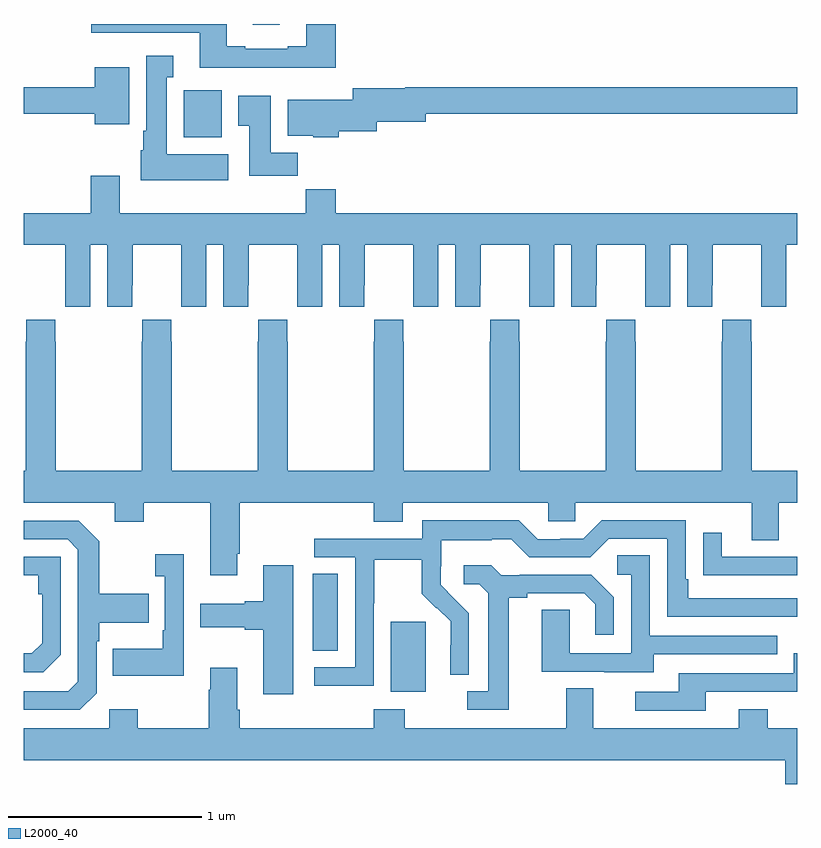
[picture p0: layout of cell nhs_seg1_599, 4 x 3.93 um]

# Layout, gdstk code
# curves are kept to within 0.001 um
import gdstk
lib = gdstk.Library(unit=1e-6, precision=1e-09)
def R(c, l, rs):  # rectangles x0, y0, x1, y1
    for r in rs: c.add(gdstk.rectangle(r[:2], r[2:], *l))
def P(c, l, *ps):  # polygons
    for p in ps: c.add(gdstk.Polygon(p, *l))
L2000_40 = (2000, 40)

nhs_seg1_599 = lib.new_cell('nhs_seg1_599')
R(nhs_seg1_599, L2000_40, [(144.899,558.746,145.078,559.107), (144.494,558.958,144.625,559.355), (143.828,561.614,144.025,561.856), (144.185,562.194,144.325,562.199)])
P(nhs_seg1_599, L2000_40, [(144.614,562.199),(144.461,562.199),(144.461,562.084),(144.365,562.084),(144.365,562.071),(144.145,562.071),(144.145,562.084),(144.049,562.084),(144.049,562.199),(143.349,562.199),(143.349,562.155),(143.909,562.155),(143.909,561.974),(144.614,561.974)],
  [(144.058,561.526),(143.74,561.526),(143.74,561.923),(143.773,561.923),(143.773,562.036),(143.633,562.036),(143.633,561.646),(143.618,561.646),(143.618,561.546),(143.606,561.546),(143.606,561.392),(144.058,561.392)],
  [(143.545,561.976),(143.366,561.976),(143.366,561.872),(143,561.872),(143,561.736),(143.366,561.736),(143.366,561.68),(143.545,561.68)],
  [(144.629,561.644),(144.826,561.644),(144.826,561.694),(145.078,561.694),(145.078,561.736),(147,561.736),(147,561.872),(144.974,561.872),(144.974,561.866),(144.702,561.866),(144.702,561.808),(144.365,561.808),(144.365,561.62),(144.498,561.62),(144.498,561.614),(144.629,561.614)],
  [(144.416,561.532),(144.277,561.532),(144.277,561.829),(144.11,561.829),(144.11,561.673),(144.167,561.673),(144.167,561.414),(144.416,561.414)],
  [(143.344,561.056),(143.432,561.056),(143.432,560.736),(143.562,560.736),(143.562,560.848),(143.563,560.848),(143.563,561.056),(143.813,561.056),(143.813,560.848),(143.814,560.848),(143.814,560.736),(143.944,560.736),(143.944,561.056),(144.032,561.056),(144.032,560.736),(144.162,560.736),(144.162,560.848),(144.163,560.848),(144.163,561.056),(144.413,561.056),(144.413,560.848),(144.414,560.848),(144.414,560.736),(144.544,560.736),(144.544,561.056),(144.632,561.056),(144.632,560.736),(144.762,560.736),(144.762,560.848),(144.763,560.848),(144.763,561.056),(145.013,561.056),(145.013,560.848),(145.014,560.848),(145.014,560.736),(145.144,560.736),(145.144,561.056),(145.232,561.056),(145.232,560.736),(145.362,560.736),(145.362,560.848),(145.363,560.848),(145.363,561.056),(145.613,561.056),(145.613,560.848),(145.614,560.848),(145.614,560.736),(145.744,560.736),(145.744,561.056),(145.832,561.056),(145.832,560.736),(145.962,560.736),(145.962,560.848),(145.963,560.848),(145.963,561.056),(146.213,561.056),(146.213,560.848),(146.214,560.848),(146.214,560.736),(146.344,560.736),(146.344,561.056),(146.432,561.056),(146.432,560.736),(146.562,560.736),(146.562,560.848),(146.563,560.848),(146.563,561.056),(146.813,561.056),(146.813,560.848),(146.814,560.848),(146.814,560.736),(146.944,560.736),(146.944,561.056),(147,561.056),(147,561.22),(144.614,561.22),(144.614,561.344),(144.457,561.344),(144.457,561.22),(143.497,561.22),(143.497,561.415),(143.345,561.415),(143.345,561.22),(143,561.22),(143,561.056),(143.213,561.056),(143.213,560.848),(143.214,560.848),(143.214,560.736),(143.344,560.736)],
  [(144.103,559.459),(144.116,559.459),(144.116,559.724),(144.809,559.724),(144.809,559.625),(144.961,559.625),(144.961,559.724),(145.713,559.724),(145.713,559.626),(145.851,559.626),(145.851,559.724),(146.765,559.724),(146.765,559.53),(146.905,559.53),(146.905,559.724),(147,559.724),(147,559.888),(146.766,559.888),(146.766,560.555),(146.763,560.555),(146.763,560.668),(146.613,560.668),(146.613,560.555),(146.611,560.555),(146.611,559.888),(146.166,559.888),(146.166,560.555),(146.163,560.555),(146.163,560.668),(146.013,560.668),(146.013,560.555),(146.011,560.555),(146.011,559.888),(145.566,559.888),(145.566,560.555),(145.563,560.555),(145.563,560.668),(145.413,560.668),(145.413,560.555),(145.411,560.555),(145.411,559.888),(144.966,559.888),(144.966,560.555),(144.963,560.555),(144.963,560.668),(144.813,560.668),(144.813,560.555),(144.811,560.555),(144.811,559.888),(144.366,559.888),(144.366,560.555),(144.363,560.555),(144.363,560.668),(144.213,560.668),(144.213,560.555),(144.211,560.555),(144.211,559.888),(143.766,559.888),(143.766,560.555),(143.763,560.555),(143.763,560.668),(143.613,560.668),(143.613,560.555),(143.611,560.555),(143.611,559.888),(143.166,559.888),(143.166,560.555),(143.163,560.555),(143.163,560.668),(143.013,560.668),(143.013,560.555),(143.011,560.555),(143.011,559.888),(143,559.888),(143,559.724),(143.471,559.724),(143.471,559.625),(143.619,559.625),(143.619,559.724),(143.963,559.724),(143.963,559.347),(144.103,559.347)],
  [(144.81,559.204),(144.813,559.204),(144.813,559.428),(145.057,559.428),(145.057,559.253),(145.134,559.176),(145.137,559.179),(145.208,559.109),(145.208,558.986),(145.206,558.986),(145.206,558.832),(145.302,558.832),(145.302,559.15),(145.156,559.298),(145.156,559.395),(145.158,559.395),(145.158,559.529),(145.421,559.529),(145.421,559.533),(145.521,559.533),(145.614,559.44),(145.929,559.44),(146.025,559.536),(146.328,559.536),(146.328,559.134),(147,559.134),(147,559.23),(146.437,559.23),(146.437,559.327),(146.424,559.327),(146.424,559.632),(145.989,559.632),(145.893,559.536),(145.775,559.536),(145.775,559.533),(145.659,559.533),(145.559,559.633),(145.062,559.633),(145.062,559.536),(144.501,559.536),(144.501,559.44),(144.714,559.44),(144.714,558.873),(144.501,558.873),(144.501,558.775),(144.81,558.775)],
  [(143.376,558.738),(143.376,559.007),(143.389,559.007),(143.389,559.103),(143.645,559.103),(143.645,559.251),(143.389,559.251),(143.389,559.523),(143.283,559.629),(143,559.629),(143,559.533),(143.226,559.533),(143.28,559.479),(143.28,558.798),(143.229,558.747),(143,558.747),(143,558.651),(143.289,558.651)],
  [(147,559.443),(146.611,559.443),(146.611,559.567),(146.515,559.567),(146.515,559.348),(146.617,559.348),(146.617,559.347),(147,559.347)],
  [(143.826,559.456),(143.679,559.456),(143.679,559.343),(143.73,559.343),(143.73,559.063),(143.718,559.063),(143.718,558.967),(143.461,558.967),(143.461,558.827),(143.826,558.827)],
  [(146.257,558.939),(146.897,558.939),(146.897,559.035),(146.238,559.035),(146.238,559.451),(146.07,559.451),(146.07,559.35),(146.142,559.35),(146.142,558.945),(145.824,558.945),(145.824,559.169),(145.679,559.169),(145.679,558.849),(146.003,558.849),(146.003,558.845),(146.257,558.845)],
  [(143.19,558.936),(143.19,559.443),(143,559.443),(143,559.347),(143.074,559.347),(143.074,559.25),(143.094,559.25),(143.094,558.996),(143.041,558.943),(143,558.943),(143,558.846),(143.1,558.846)],
  [(145.507,559.232),(145.603,559.232),(145.603,559.254),(145.898,559.254),(145.955,559.197),(145.955,559.041),(146.052,559.041),(146.052,559.234),(145.936,559.35),(145.564,559.35),(145.564,559.347),(145.47,559.347),(145.418,559.399),(145.275,559.399),(145.275,559.302),(145.356,559.302),(145.403,559.255),(145.403,558.747),(145.293,558.747),(145.293,558.651),(145.507,558.651)],
  [(144.394,559.399),(144.239,559.399),(144.239,559.214),(144.143,559.214),(144.143,559.201),(143.913,559.201),(143.913,559.079),(144.143,559.079),(144.143,559.067),(144.239,559.067),(144.239,558.732),(144.394,558.732)],
  [(146.527,558.744),(147,558.744),(147,558.943),(146.982,558.943),(146.982,558.84),(146.387,558.84),(146.387,558.744),(146.163,558.744),(146.163,558.648),(146.527,558.648)],
  [(144.103,558.652),(144.103,558.868),(143.963,558.868),(143.963,558.755),(143.956,558.755),(143.956,558.556),(143.589,558.556),(143.589,558.655),(143.442,558.655),(143.442,558.556),(143,558.556),(143,558.392),(146.939,558.392),(146.939,558.268),(147,558.268),(147,558.556),(146.847,558.556),(146.847,558.655),(146.699,558.655),(146.699,558.556),(145.945,558.556),(145.945,558.764),(145.805,558.764),(145.805,558.556),(144.969,558.556),(144.969,558.655),(144.809,558.655),(144.809,558.556),(144.116,558.556),(144.116,558.652)])

lib.write_gds('nhs_seg1_599.gds')
